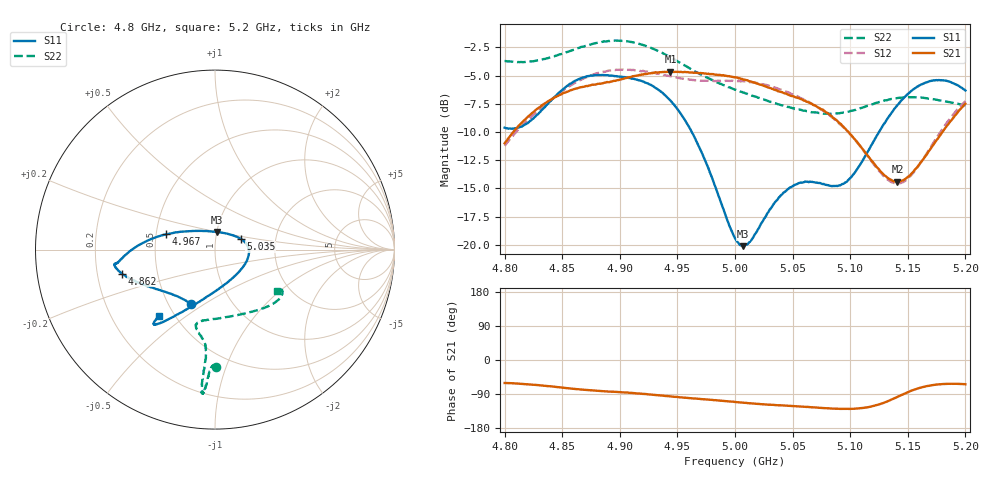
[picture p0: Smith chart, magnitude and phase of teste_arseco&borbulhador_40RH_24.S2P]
! Network Analyzer HP8722D
! Hewlett-Packard
! Data name: Linha & Wilkinson
! Saver's name: Rodrigo Anjos
! Comments: Teste da utilização de aquisição
! continua pelo VNA HP8722D
! Time and date: 15/4/2025 16:33
!  Frequency  S11  S21  S12  S22
# HZ  S  MA R 50
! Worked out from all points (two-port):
!   401 points, 4.8 GHz to 5.2 GHz, reference 50 ohm
!   highest |S21| = -4.64 dB at 4.944 GHz (marker M1); lowest = -14.4 dB at 5.141 GHz (marker M2)
!   |S21| within 3 dB of the highest: 4.832 GHz to 5.069 GHz (237 MHz wide, 4.79 % of centre); 5.198579 GHz to end of sweep
!   lowest |S11| = -20.1 dB at 5.007 GHz (marker M3), VSWR 1.22, Z = 50.1 + j9.91 ohm
!   |S11| at or under -10 dB: 4.962 GHz to 5.125 GHz (162.5 MHz wide, 3.22 % of centre)
!   |S22| runs from -8.4 to -1.9 dB; largest |S21 - S12| = 0.88
!   S11 on the Smith chart (normalised r, x): 4.8 GHz: 0.65, -0.44; 4.862 GHz: 0.31, -0.11; 4.967 GHz: 0.57, +0.10; 5.035 GHz: 1.32, +0.16; 5.2 GHz: 0.41, -0.40
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4.8e9  0.331 -113.7  0.2818 -60.7  0.2746 -175.0  0.6536 -89.5
4.819e9  0.3446 -133.4  0.3648 -63.7  0.3524 -173.2  0.6481 -91.1
4.862e9  0.5361 -165.6  0.4935 -76.6  0.5266 -176.1  0.7404 -93.5
4.867e9  0.5493 -167.4  0.5012 -78.1  0.5412 -177.4  0.755 -93.7
4.899e9  0.5578 -172.1  0.5378 -84.9  0.5974 175.8  0.8032 -95.0
4.934e9  0.4848 -177.9  0.5823 -93.3  0.5734 172.1  0.7204 -95.5
4.944e9  0.436 177.6  0.5864 -96.0  0.5587 172.0  0.6786 -95.5
4.967e9  0.2849 162.6  0.579 -102.1  0.536 174.1  0.582 -94.9
5e9  0.1069 107.4  0.5529 -110.8  0.5323 176.5  0.4876 -99.1
5.007e9  0.09861 84.0  0.5402 -112.4  0.5317 176.4  0.473 -100.9
5.014e9  0.1047 61.6  0.5296 -114.6  0.5259 176.3  0.461 -102.5
5.035e9  0.155 23.0  0.4856 -118.9  0.4978 175.2  0.4243 -103.8
5.05e9  0.1821 7.3  0.4567 -121.5  0.4656 174.6  0.4033 -100.4
5.067e9  0.1901 -11.0  0.4208 -124.8  0.4213 174.0  0.387 -91.8
5.087e9  0.1823 -43.5  0.3606 -128.4  0.3568 173.8  0.3817 -76.9
5.097e9  0.1902 -64.7  0.3215 -129.1  0.321 174.4  0.3883 -68.6
5.134e9  0.3733 -115.9  0.1958 -107.0  0.1921 -159.9  0.4414 -43.3
5.141e9  0.4161 -119.9  0.1905 -97.2  0.1873 -148.9  0.4476 -40.2
5.153e9  0.4813 -124.8  0.2065 -81.0  0.2034 -130.2  0.4514 -35.9
5.17e9  0.5326 -128.5  0.2676 -67.0  0.2723 -113.0  0.444 -32.0
5.184e9  0.5327 -129.8  0.3374 -63.0  0.3489 -107.1  0.4315 -31.1
5.2e9  0.4833 -130.3  0.4223 -64.0  0.4337 -106.0  0.4151 -33.4
